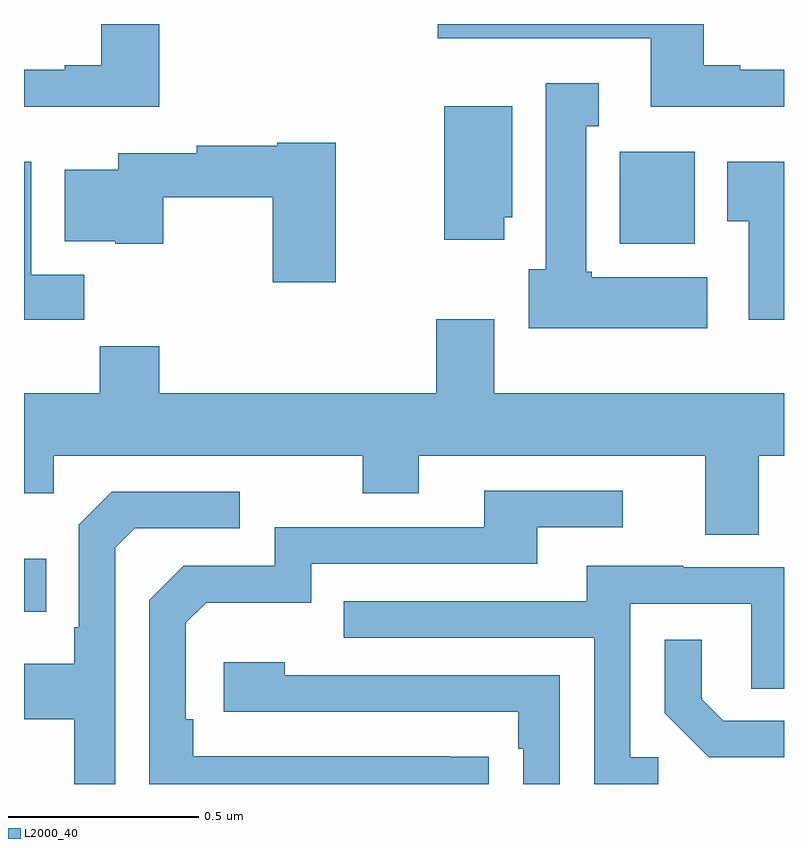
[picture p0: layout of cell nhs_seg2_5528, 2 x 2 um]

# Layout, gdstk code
import gdstk
lib = gdstk.Library(unit=1e-6, precision=1e-09)
def R(c, l, rs):  # rectangles x0, y0, x1, y1
    for r in rs: c.add(gdstk.rectangle(r[:2], r[2:], *l))
def P(c, l, *ps):  # polygons
    for p in ps: c.add(gdstk.Polygon(p, *l))
L2000_40 = (2000, 40)

nhs_seg2_5528 = lib.new_cell('nhs_seg2_5528')
R(nhs_seg2_5528, L2000_40, [(180,619.253,180.059,619.393), (181.568,620.222,181.765,620.464)])
P(nhs_seg2_5528, L2000_40, [(182,620.679),(181.885,620.679),(181.885,620.692),(181.789,620.692),(181.789,620.8),(181.089,620.8),(181.089,620.763),(181.649,620.763),(181.649,620.582),(182,620.582)],
  [(180.356,620.8),(180.203,620.8),(180.203,620.692),(180.107,620.692),(180.107,620.679),(180,620.679),(180,620.582),(180.356,620.582)],
  [(181.798,620.134),(181.494,620.134),(181.494,620.148),(181.48,620.148),(181.48,620.531),(181.513,620.531),(181.513,620.644),(181.373,620.644),(181.373,620.154),(181.328,620.154),(181.328,620),(181.798,620)],
  [(181.264,620.292),(181.285,620.292),(181.285,620.584),(181.106,620.584),(181.106,620.232),(181.264,620.232)],
  [(180.82,620.488),(180.666,620.488),(180.666,620.48),(180.454,620.48),(180.454,620.46),(180.248,620.46),(180.248,620.416),(180.107,620.416),(180.107,620.228),(180.24,620.228),(180.24,620.222),(180.366,620.222),(180.366,620.344),(180.655,620.344),(180.655,620.121),(180.82,620.121)],
  [(182,620.437),(181.85,620.437),(181.85,620.281),(181.907,620.281),(181.907,620.022),(182,620.022)],
  [(180.158,620.14),(180.019,620.14),(180.019,620.437),(180,620.437),(180,620.022),(180.158,620.022)],
  [(181.933,619.664),(182,619.664),(182,619.828),(181.237,619.828),(181.237,620.023),(181.085,620.023),(181.085,619.828),(180.356,619.828),(180.356,619.952),(180.199,619.952),(180.199,619.828),(180,619.828),(180,619.565),(180.078,619.565),(180.078,619.664),(180.892,619.664),(180.892,619.565),(181.039,619.565),(181.039,619.664),(181.793,619.664),(181.793,619.456),(181.933,619.456)],
  [(181.223,618.872),(181.121,618.872),(181.121,618.873),(180.446,618.873),(180.446,618.97),(180.426,618.97),(180.426,619.224),(180.479,619.277),(180.756,619.277),(180.756,619.38),(181.351,619.38),(181.351,619.476),(181.576,619.476),(181.576,619.572),(181.211,619.572),(181.211,619.476),(180.66,619.476),(180.66,619.374),(180.42,619.374),(180.33,619.284),(180.33,618.8),(181.223,618.8)],
  [(180.24,619.422),(180.291,619.473),(180.568,619.473),(180.568,619.569),(180.231,619.569),(180.144,619.482),(180.144,619.213),(180.132,619.213),(180.132,619.117),(180,619.117),(180,618.97),(180.132,618.97),(180.132,618.8),(180.24,618.8)],
  [(181.669,618.87),(181.596,618.87),(181.596,619.275),(181.914,619.275),(181.914,619.051),(182,619.051),(182,619.371),(181.735,619.371),(181.735,619.375),(181.481,619.375),(181.481,619.281),(180.841,619.281),(180.841,619.185),(181.5,619.185),(181.5,618.8),(181.669,618.8)],
  [(182,618.966),(181.84,618.966),(181.783,619.023),(181.783,619.18),(181.686,619.18),(181.686,618.986),(181.802,618.87),(182,618.87)],
  [(181.41,619.086),(180.686,619.086),(180.686,619.12),(180.525,619.12),(180.525,618.99),(181.301,618.99),(181.301,618.893),(181.314,618.893),(181.314,618.8),(181.41,618.8)])

lib.write_gds('nhs_seg2_5528.gds')
